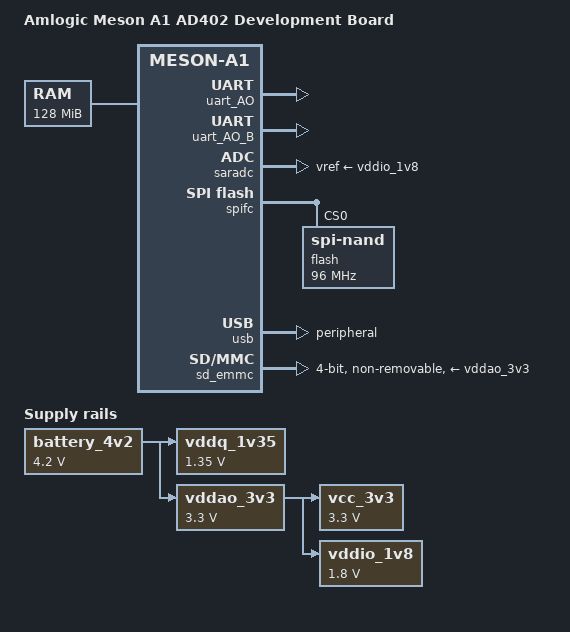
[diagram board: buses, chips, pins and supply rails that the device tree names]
// SPDX-License-Identifier: (GPL-2.0+ OR MIT)
/*
 * Copyright (c) 2023 SberDevices
 * Author: Dmitry Rokosov <ddrokosov@sberdevices.ru>
 */

/dts-v1/;

#include "meson-a1.dtsi"
#include <dt-bindings/thermal/thermal.h>

/ {
	compatible = "amlogic,ad402", "amlogic,a1";
	model = "Amlogic Meson A1 AD402 Development Board";

	aliases {
		serial0 = &uart_AO_B;
	};

	chosen {
		stdout-path = "serial0:115200n8";
	};

	memory@0 {
		device_type = "memory";
		reg = <0x0 0x0 0x0 0x8000000>;
	};

	reserved-memory {
		/* 3 MiB reserved for Amlogic Trust OS (BL32) */
		secos_reserved: secos@3d00000 {
			reg = <0x0 0x03d00000 0x0 0x300000>;
			no-map;
		};
	};

	firmware {
		optee {
			compatible = "linaro,optee-tz";
			method = "smc";
		};
	};

	battery_4v2: regulator-battery-4v2 {
		compatible = "regulator-fixed";
		regulator-name = "4V2";
		regulator-min-microvolt = <4200000>;
		regulator-max-microvolt = <4200000>;
		regulator-always-on;
	};

	vddq_1v35: regulator-vddq-1v35 {
		compatible = "regulator-fixed";
		regulator-name = "VDDQ_1V35";
		regulator-min-microvolt = <1350000>;
		regulator-max-microvolt = <1350000>;
		vin-supply = <&battery_4v2>;
		regulator-always-on;
	};

	vddao_3v3: regulator-vddao-3v3 {
		compatible = "regulator-fixed";
		regulator-name = "VDDAO_3V3";
		regulator-min-microvolt = <3300000>;
		regulator-max-microvolt = <3300000>;
		vin-supply = <&battery_4v2>;
		regulator-always-on;
	};

	vcc_3v3: regulator-vcc-3v3 {
		compatible = "regulator-fixed";
		regulator-name = "VCC_3V3";
		regulator-min-microvolt = <3300000>;
		regulator-max-microvolt = <3300000>;
		vin-supply = <&vddao_3v3>;
		regulator-always-on;
	};

	vddio_1v8: regulator-vddio-1v8 {
		compatible = "regulator-fixed";
		regulator-name = "VDDIO_1V8";
		regulator-min-microvolt = <1800000>;
		regulator-max-microvolt = <1800000>;
		vin-supply = <&vddao_3v3>;
		regulator-always-on;
	};
};

/* Bluetooth HCI H4 */
&uart_AO {
	status = "okay";
	pinctrl-0 = <&uart_a_pins>, <&uart_a_cts_rts_pins>;
	pinctrl-names = "default";
};

&uart_AO_B {
	status = "okay";
};

&saradc {
	status = "okay";
	vref-supply = <&vddio_1v8>;
};

&spifc {
	status = "okay";
	pinctrl-0 = <&spifc_pins>;
	pinctrl-names = "default";

	flash@0 {
		compatible = "spi-nand";
		status = "okay";
		reg = <0>;
		spi-max-frequency = <96000000>;
		spi-tx-bus-width = <4>;
		spi-rx-bus-width = <4>;
	};

	thermal-zones {
		soc_thermal: soc_thermal {
			polling-delay = <1000>;
			polling-delay-passive = <100>;
			sustainable-power = <130>;

			thermal-sensors = <&cpu_temp>;

			trips {
				soc_passive: soc-passive {
					temperature = <70000>;
					hysteresis = <2000>;
					type = "passive";
				};

				soc_hot: soc-hot {
					temperature = <85000>;
					hysteresis = <5000>;
					type = "hot";
				};

				soc_critical: soc-critical {
					temperature = <110000>;
					hysteresis = <1000>;
					type = "critical";
				};
			};

			soc_cooling_maps: cooling-maps {
				map0 {
					trip = <&soc_passive>;
					cooling-device = <&cpu0 THERMAL_NO_LIMIT THERMAL_NO_LIMIT>,
							 <&cpu1 THERMAL_NO_LIMIT THERMAL_NO_LIMIT>;
				};

				map1 {
					trip = <&soc_hot>;
					cooling-device = <&cpu0 THERMAL_NO_LIMIT THERMAL_NO_LIMIT>,
							 <&cpu1 THERMAL_NO_LIMIT THERMAL_NO_LIMIT>;
				};
			};
		};
	};
};

&usb2_phy1 {
	phy-supply = <&vcc_3v3>;
};

&usb {
	status = "okay";
	dr_mode = "peripheral";
};

&sd_emmc {
	status = "okay";

	#address-cells = <1>;
	#size-cells = <0>;

	pinctrl-0 = <&sdio_pins>;
	pinctrl-1 = <&sdio_clk_gate_pins>;
	pinctrl-names = "default", "clk-gate";

	bus-width = <4>;
	cap-sd-highspeed;
	sd-uhs-sdr104;
	max-frequency = <200000000>;
	non-removable;
	disable-wp;

	vmmc-supply = <&vddao_3v3>;
	vqmmc-supply = <&vddio_1v8>;
};
